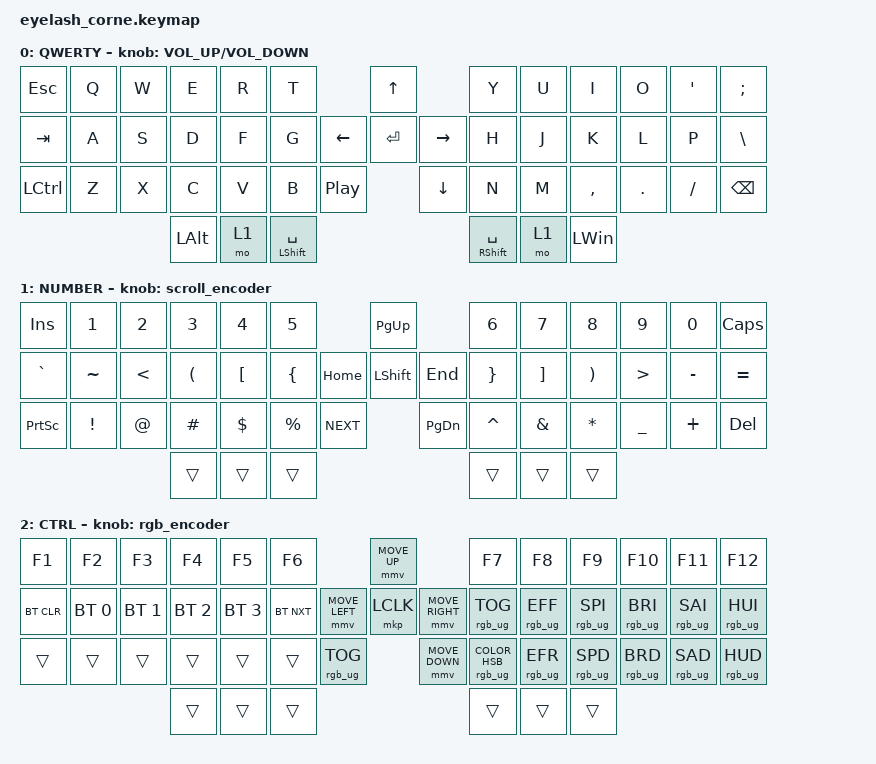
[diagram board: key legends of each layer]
#define ZMK_POINTING_DEFAULT_MOVE_VAL 1200  // 600
#define ZMK_POINTING_DEFAULT_SCRL_VAL 25   // 10

#include <input/processors.dtsi>
#include <zephyr/dt-bindings/input/input-event-codes.h>
#include <behaviors.dtsi>
#include <dt-bindings/zmk/bt.h>
#include <dt-bindings/zmk/keys.h>
#include <dt-bindings/zmk/pointing.h>
#include <dt-bindings/zmk/rgb.h>

&mmv_input_listener { input-processors = <&zip_xy_scaler 2 1>; };

&msc_input_listener { input-processors = <&zip_scroll_scaler 2 1>; };

&msc {
    acceleration-exponent = <1>;      // 0
    time-to-max-speed-ms = <100>;       // 300
    delay-ms = <0>;                   // 0
};

&mmv {
    time-to-max-speed-ms = <500>;
    acceleration-exponent = <1>;
    trigger-period-ms = <16>;
};

/ {
    behaviors {
        holdtap: holdtap {
            compatible = "zmk,behavior-hold-tap";
            label = "HOLDTAP";
            bindings = <&kp>, <&kp>;

            #binding-cells = <2>;
            tapping-term-ms = <80>;
            hold-trigger-key-positions = <0 1 2 3 4 0 1 2 3 4 5 7 8 9 10 11 12 13 14 15 16 17 18 22 23 24 25 26 27 28 29 30 31 32 33 36 37 38 39 40 41>;
            flavor = "balanced";
            hold-while-undecided;
            retro-tap;
        };
    };

    rgb_encoder: rgb_encoder {
        compatible = "zmk,behavior-sensor-rotate";
        #sensor-binding-cells = <0>;
        bindings = <&rgb_ug RGB_BRI>, <&rgb_ug RGB_BRD>;
    };

    scroll_encoder: scroll_encoder {
        compatible = "zmk,behavior-sensor-rotate";
        #sensor-binding-cells = <0>;
        bindings = <&msc SCRL_DOWN>, <&msc SCRL_UP>;

        tap-ms = <100>;
    };

    combos {
        compatible = "zmk,combos";

        toggle-controls-left {
            bindings = <&tog 2>;
            key-positions = <42 43 44>;
        };

        toggle-controls-right {
            bindings = <&tog 2>;
            key-positions = <45 46 47>;
        };
    };

    keymap {
        compatible = "zmk,keymap";

        default_layer {
            display-name = "QWERTY";
            bindings = <
&kp ESCAPE  &kp Q  &kp W  &kp E         &kp R  &kp T                                                    &kp UP                &kp Y                       &kp U  &kp I         &kp O    &kp SQT   &kp SEMICOLON
&kp TAB     &kp A  &kp S  &kp D         &kp F  &kp G                                          &kp LEFT  &kp ENTER  &kp RIGHT  &kp H                       &kp J  &kp K         &kp L    &kp P     &kp BACKSLASH
&kp LCTRL   &kp Z  &kp X  &kp C         &kp V  &kp B                      &kp C_PLAY_PAUSE              &kp DOWN              &kp N                       &kp M  &kp COMMA     &kp DOT  &kp FSLH  &kp BACKSPACE
                          &kp LEFT_ALT  &mo 1  &holdtap LEFT_SHIFT SPACE                                                      &holdtap RIGHT_SHIFT SPACE  &mo 1  &kp LEFT_WIN
            >;

            sensor-bindings = <&inc_dec_kp C_VOLUME_UP C_VOLUME_DOWN>;
        };

        keys {
            display-name = "NUMBER";
            bindings = <
&kp INSERT       &kp N1           &kp N2         &kp N3                &kp N4            &kp N5                                  &kp PAGE_UP              &kp N6           &kp N7             &kp N8                 &kp N9            &kp N0     &kp CLCK
&kp GRAVE        &kp TILDE        &kp LESS_THAN  &kp LEFT_PARENTHESIS  &kp LEFT_BRACKET  &kp LEFT_BRACE                &kp HOME  &kp LEFT_SHIFT  &kp END  &kp RIGHT_BRACE  &kp RIGHT_BRACKET  &kp RIGHT_PARENTHESIS  &kp GREATER_THAN  &kp MINUS  &kp EQUAL
&kp PRINTSCREEN  &kp EXCLAMATION  &kp AT_SIGN    &kp POUND             &kp DOLLAR        &kp PERCENT     &kp C_NEXT              &kp PAGE_DOWN            &kp CARET        &kp AMPERSAND      &kp ASTERISK           &kp UNDER         &kp PLUS   &kp DEL
                                                 &trans                &trans            &trans                                                           &trans           &trans             &trans
            >;

            sensor-bindings = <&scroll_encoder>;
        };

        controls {
            display-name = "CTRL";
            bindings = <
&kp F1      &kp F2        &kp F3        &kp F4        &kp F5        &kp F6                                         &mmv MOVE_UP                     &kp F7                          &kp F8           &kp F9           &kp F10          &kp F11          &kp F12
&bt BT_CLR  &bt BT_SEL 0  &bt BT_SEL 1  &bt BT_SEL 2  &bt BT_SEL 3  &bt BT_NXT                     &mmv MOVE_LEFT  &mkp LCLK       &mmv MOVE_RIGHT  &rgb_ug RGB_TOG                 &rgb_ug RGB_EFF  &rgb_ug RGB_SPI  &rgb_ug RGB_BRI  &rgb_ug RGB_SAI  &rgb_ug RGB_HUI
&trans      &trans        &trans        &trans        &trans        &trans      &rgb_ug RGB_TOG                    &mmv MOVE_DOWN                   &rgb_ug RGB_COLOR_HSB(0,0,100)  &rgb_ug RGB_EFR  &rgb_ug RGB_SPD  &rgb_ug RGB_BRD  &rgb_ug RGB_SAD  &rgb_ug RGB_HUD
                                        &trans        &trans        &trans                                                                          &trans                          &trans           &trans
            >;

            sensor-bindings = <&rgb_encoder>;
        };
    };
};
